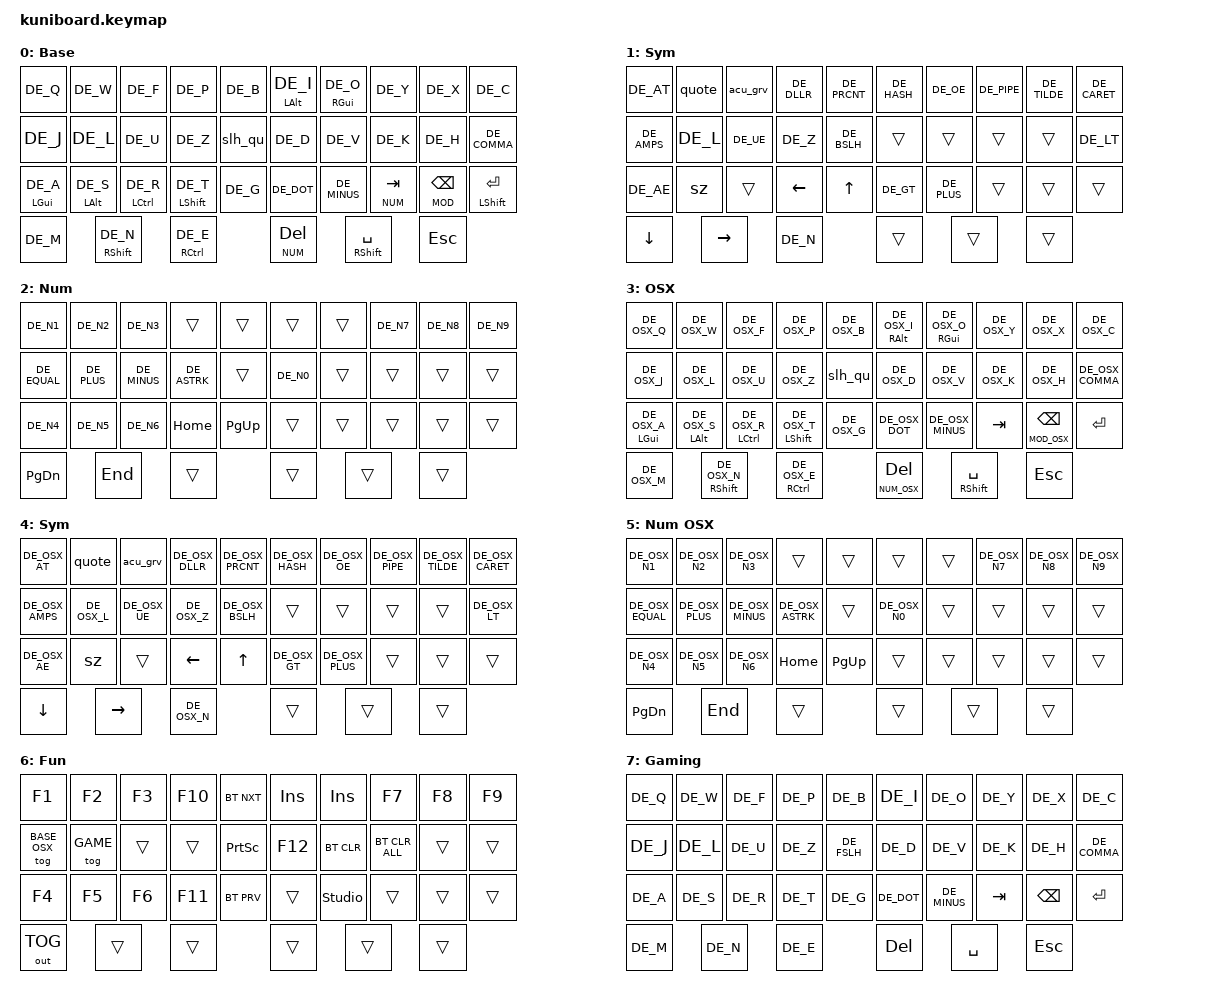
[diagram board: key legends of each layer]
/*
 * Copyright (c) 2020 The ZMK Contributors
 *
 * SPDX-License-Identifier: MIT
 */


#include <behaviors.dtsi>
#include <dt-bindings/zmk/keys.h>
#include <dt-bindings/zmk/bt.h>
#include <dt-bindings/zmk/outputs.h>
#include "../../../includes/keys_de_osx.h"
#include "../../../includes/keys_de.h"
#include "../../../includes/keypos_36keys.h"
#include "../../../includes/helper.h"

#define KEYS_L LT0 LT1 LT2 LT3 LT4 LM0 LM1 LM2 LM3 LM4 LB0 LB1 LB2 LB3 LB4  // left-hand keys
#define KEYS_R RT0 RT1 RT2 RT3 RT4 RM0 RM1 RM2 RM3 RM4 RB0 RB1 RB2 RB3 RB4  // right-hand keys
#define THUMBS LH2 LH1 LH0 RH0 RH1 RH2 

#define BASE 0
#define MOD 1
#define NUM 2
#define BASE_OSX 3
#define MOD_OSX 4
#define NUM_OSX 5
#define ADJ 6
#define GAME 7

ZMK_BEHAVIOR(hml, hold_tap,
    flavor = "balanced";
    tapping-term-ms = <280>;
    quick-tap-ms = <175>;                // repeat on tap-into-hold
    require-prior-idle-ms = <150>;
    bindings = <&kp>, <&kp>;
    hold-trigger-key-positions = <KEYS_R THUMBS>;
    hold-trigger-on-release;             // delay positional check until key-release
)

/* right-hand HRMs */
ZMK_BEHAVIOR(hmr, hold_tap,
    flavor = "balanced";
    tapping-term-ms = <280>;
    quick-tap-ms = <175>;                // repeat on tap-into-hold
    require-prior-idle-ms = <150>;
    bindings = <&kp>, <&kp>;
    hold-trigger-key-positions = <KEYS_L THUMBS>;
    hold-trigger-on-release;             // delay positional check until key-release
)

&caps_word {
    continue-list = <DE_MINUS>;
};

/ {
    behaviors {
        quote: single_double_quote {
            compatible = "zmk,behavior-mod-morph";
            #binding-cells = <0>;
            bindings = <&kp DE_SQT>, <&kp DE_DQT>;
            mods = <(MOD_LSFT|MOD_RSFT)>;
        };
        acu_grv: acute_grave {
            compatible = "zmk,behavior-mod-morph";
            #binding-cells = <0>;
            bindings = <&kp DE_ACUTE>, <&kp DE_GRAVE>;
            mods = <(MOD_LSFT|MOD_RSFT)>;
        };
        sz: sz_cap_sz  {
            compatible = "zmk,behavior-mod-morph";
            #binding-cells = <0>;
            bindings = <&kp DE_SZ>, <&kp DE_CAPITAL_SZ>;
            mods = <(MOD_LSFT|MOD_RSFT)>;
        };
        slh_qu: flsh_qmark  {
            compatible = "zmk,behavior-mod-morph";
            #binding-cells = <0>;
            bindings = <&kp DE_FSLH>, <&kp DE_QMARK>;
            mods = <(MOD_LSFT|MOD_RSFT)>;
        };
    };
};

/ {
    combos {
        compatible = "zmk,combos";
        lbkt {
            timeout-ms = <40>;
            key-positions = <LT1 LT2>;
            bindings = <&kp DE_LBKT>;
            layers = <0>;
        };
        rbkt {
            timeout-ms = <40>;
            key-positions = <RT1 RT2>;
            bindings = <&kp DE_RBKT>;
            layers = <0>;
        };
        lpar {
            timeout-ms = <40>;
            key-positions = <LM1 LM2>;
            bindings = <&kp DE_LPAR>;
            layers = <0>;
        };
        rpar {
            timeout-ms = <40>;
            key-positions = <RM1 RM2>;
            bindings = <&kp DE_RPAR>;
            layers = <0>;
        };
        lbrc {
            timeout-ms = <40>;
            key-positions = <LB1 LB2>;
            bindings = <&kp DE_LBRC>;
            layers = <0>;
        };
        rbrc {
            timeout-ms = <40>;
            key-positions = <RB1 RB2>;
            bindings = <&kp DE_RBRC>;
            layers = <0>;
        };
        lbkt_osx {
            timeout-ms = <50>;
            key-positions = <LT1 LT2>;
            bindings = <&kp DE_OSX_LBKT>;
            layers = <3>;
        };
        rbkt_osx {
            timeout-ms = <50>;
            key-positions = <RT1 RT2>;
            bindings = <&kp DE_OSX_RBKT>;
            layers = <3>;
        };
        lpar_osx {
            timeout-ms = <50>;
            key-positions = <LM1 LM2>;
            bindings = <&kp DE_OSX_LPAR>;
            layers = <3>;
        };
        rpar_osx {
            timeout-ms = <50>;
            key-positions = <RM1 RM2>;
            bindings = <&kp DE_OSX_RPAR>;
            layers = <3>;
        };
        lbrc_osx {
            timeout-ms = <50>;
            key-positions = <LB1 LB2>;
            bindings = <&kp DE_OSX_LBRC>;
            layers = <3>;
        };
        rbrc_osx {
            timeout-ms = <50>;
            key-positions = <RB1 RB2>;
            bindings = <&kp DE_OSX_RBRC>;
            layers = <3>;
        };
        caps_word {
            timeout-ms = <200>;
            key-positions = <LH0 RH1>;
            bindings = <&caps_word>;
            layers = <0 1 2 3 4 5>;
        };
        play_pause {
            timeout-ms = <50>;
            key-positions = <LM1 LM3>;
            bindings = <&kp C_PLAY_PAUSE>;
            layers = <0>;
            require-prior-idle-ms = <1000>;
        };
        prev {
            timeout-ms = <50>;
            key-positions = <LT1 LT3>;
            bindings = <&kp C_PREV>;
            layers = <0>;
            require-prior-idle-ms = <1000>;
        };
        next {
            timeout-ms = <50>;
            key-positions = <LB1 LB3>;
            bindings = <&kp C_NEXT>;
            layers = <0>;
            require-prior-idle-ms = <1000>;
        };
        exit_game {
            timeout-ms = <50>;
            key-positions = <LH2 LH1 LH0>;
            bindings = <&to BASE>;
            layers = <GAME>;
        };
    };
};

/ {
    conditional_layers {
        compatible = "zmk,conditional-layers";
        tri_layer {
            if-layers = <1 2>;
            then-layer = <6>;
        };
        tri_layer_osx {
            if-layers = <4 5>;
            then-layer = <6>;
        };
    };
};

&mt {
    flavor = "balanced";
    quick-tap-ms = <150>;
};

&lt {
    flavor = "balanced";
    quick-tap-ms = <150>;
};

/ {
    keymap {
        compatible = "zmk,keymap";

        base_layer {
            display-name = "Base";
            bindings = <
                &kp DE_Q        &kp DE_W        &kp DE_F        &kp DE_P        &kp DE_B        &kp DE_J        &kp DE_L        &kp DE_U        &kp DE_Z        &slh_qu   
                &hml LGUI DE_A  &hml LALT DE_S  &hml LCTRL DE_R &hml LSHFT DE_T &kp DE_G        &kp DE_M        &hml RSHFT DE_N &hml RCTRL DE_E &hml LALT DE_I  &hml RGUI DE_O
                &kp DE_Y        &kp DE_X        &kp DE_C        &kp DE_D        &kp DE_V        &kp DE_K        &kp DE_H        &kp DE_COMMA    &kp DE_DOT      &kp DE_MINUS
                                &lt NUM TAB     &lt MOD BSPC    &mt LSHFT ENTER &lt NUM DEL     &mt RSHFT SPACE &kp ESC
            >;
        };

        mod_layer {
            display-name = "Sym";
            bindings = <
                &kp DE_AT       &quote          &acu_grv        &kp DE_DLLR     &kp DE_PRCNT    &kp DE_AMPS     &kp DE_L        &kp DE_UE       &kp DE_Z        &kp DE_BSLH   
                &kp DE_AE       &sz             &trans          &kp LEFT        &kp UP          &kp DOWN        &kp RIGHT       &kp DE_N        &kp DE_HASH     &kp DE_OE
                &kp DE_PIPE     &kp DE_TILDE    &kp DE_CARET    &trans          &trans          &trans          &trans          &kp DE_LT       &kp DE_GT       &kp DE_PLUS
                                &trans          &trans          &trans          &trans          &trans          &trans
             >;
        };

        num_layer {
            display-name = "Num";
            bindings = <
                &kp DE_N1       &kp DE_N2       &kp DE_N3       &trans          &trans          &kp DE_EQUAL    &kp DE_PLUS     &kp DE_MINUS    &kp DE_ASTRK    &trans
                &kp DE_N4       &kp DE_N5       &kp DE_N6       &kp HOME        &kp PG_UP       &kp PG_DN       &kp END         &trans          &trans          &trans
                &kp DE_N7       &kp DE_N8       &kp DE_N9       &kp DE_N0       &trans          &trans          &trans          &trans          &trans          &trans
                                &trans          &trans          &trans          &trans          &trans          &trans
            >;
        };

        base_osx_layer {
            display-name = "OSX";
            bindings = <
                &kp DE_OSX_Q        &kp DE_OSX_W        &kp DE_OSX_F        &kp DE_OSX_P        &kp DE_OSX_B        &kp DE_OSX_J        &kp DE_OSX_L        &kp DE_OSX_U        &kp DE_OSX_Z        &slh_qu   
                &hml LGUI DE_OSX_A  &hml LALT DE_OSX_S  &hml LCTRL DE_OSX_R &hml LSHFT DE_OSX_T &kp DE_OSX_G        &kp DE_OSX_M        &hml RSHFT DE_OSX_N &hml RCTRL DE_OSX_E &hml RALT DE_OSX_I  &hml RGUI DE_OSX_O
                &kp DE_OSX_Y        &kp DE_OSX_X        &kp DE_OSX_C        &kp DE_OSX_D        &kp DE_OSX_V        &kp DE_OSX_K        &kp DE_OSX_H        &kp DE_OSX_COMMA    &kp DE_OSX_DOT      &kp DE_OSX_MINUS
                                    &kp TAB             &lt MOD_OSX BSPC    &kp ENTER           &lt NUM_OSX DEL     &mt RSHFT SPACE     &kp ESC
            >;
        };

        mod_osx_layer {
            display-name = "Sym";
            bindings = <
                &kp DE_OSX_AT       &quote              &acu_grv            &kp DE_OSX_DLLR     &kp DE_OSX_PRCNT    &kp DE_OSX_AMPS     &kp DE_OSX_L        &kp DE_OSX_UE       &kp DE_OSX_Z        &kp DE_OSX_BSLH   
                &kp DE_OSX_AE       &sz                 &trans              &kp LEFT            &kp UP              &kp DOWN            &kp RIGHT           &kp DE_OSX_N        &kp DE_OSX_HASH     &kp DE_OSX_OE
                &kp DE_OSX_PIPE     &kp DE_OSX_TILDE    &kp DE_OSX_CARET    &trans              &trans              &trans              &trans              &kp DE_OSX_LT       &kp DE_OSX_GT       &kp DE_OSX_PLUS
                                    &trans              &trans              &trans              &trans              &trans              &trans
             >;
        };

        num_osx_layer {
            display-name = "Num OSX";
            bindings = <
                &kp DE_OSX_N1       &kp DE_OSX_N2       &kp DE_OSX_N3       &trans              &trans              &kp DE_OSX_EQUAL    &kp DE_OSX_PLUS     &kp DE_OSX_MINUS    &kp DE_OSX_ASTRK    &trans   
                &kp DE_OSX_N4       &kp DE_OSX_N5       &kp DE_OSX_N6       &kp HOME            &kp PG_UP           &kp PG_DN           &kp END             &trans              &trans              &trans
                &kp DE_OSX_N7       &kp DE_OSX_N8       &kp DE_OSX_N9       &kp DE_OSX_N0       &trans              &trans              &trans              &trans              &trans              &trans
                                    &trans              &trans              &trans              &trans              &trans              &trans
            >;
        };

        adj_layer {
            display-name = "Fun";
            bindings = <
                &kp F1          &kp F2          &kp F3          &kp F10         &bt BT_NXT      &tog BASE_OSX   &tog GAME       &trans          &trans          &kp PSCRN
                &kp F4          &kp F5          &kp F6          &kp F11         &bt BT_PRV      &out OUT_TOG    &trans          &trans          &kp INSERT      &kp INS
                &kp F7          &kp F8          &kp F9          &kp F12         &bt BT_CLR      &bt BT_CLR_ALL  &trans          &trans          &trans          &studio_unlock
                                &trans          &trans          &trans          &trans          &trans          &trans
            >;
        };

        gaming_layer {
            display-name = "Gaming";
            bindings = <
                &kp DE_Q        &kp DE_W        &kp DE_F        &kp DE_P        &kp DE_B        &kp DE_J        &kp DE_L        &kp DE_U        &kp DE_Z        &kp DE_FSLH
                &kp DE_A        &kp DE_S        &kp DE_R        &kp DE_T        &kp DE_G        &kp DE_M        &kp DE_N        &kp DE_E        &kp DE_I        &kp DE_O
                &kp DE_Y        &kp DE_X        &kp DE_C        &kp DE_D        &kp DE_V        &kp DE_K        &kp DE_H        &kp DE_COMMA    &kp DE_DOT      &kp DE_MINUS
                                &kp TAB         &kp BSPC        &kp ENTER       &kp DEL         &kp SPACE       &kp ESC
            >;
        };
    };
};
